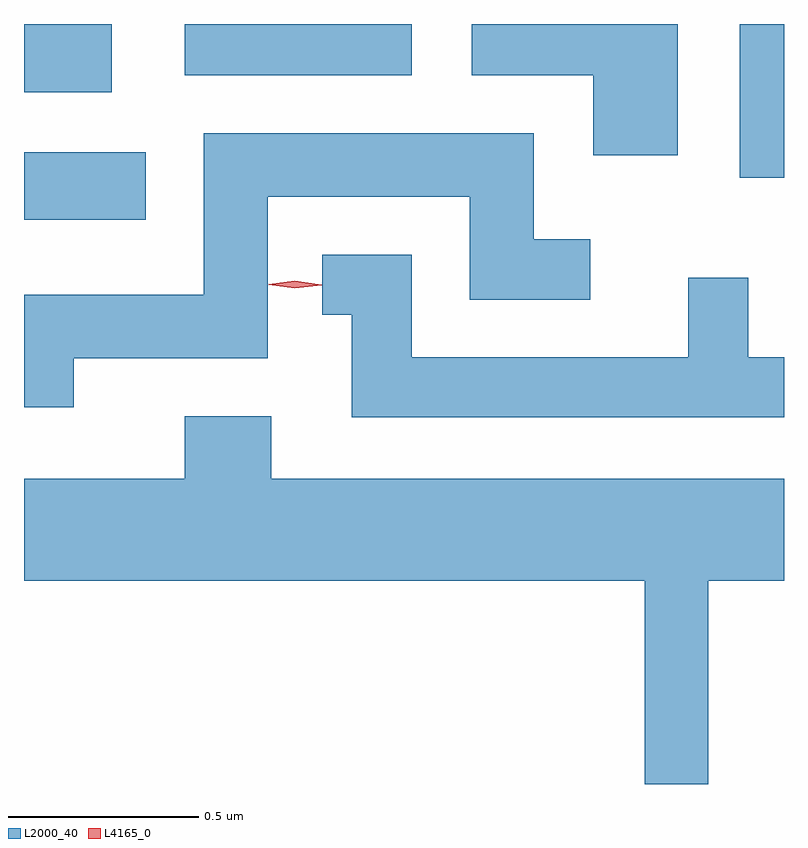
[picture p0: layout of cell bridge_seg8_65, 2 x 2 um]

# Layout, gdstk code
import gdstk
lib = gdstk.Library(unit=1e-6, precision=1e-09)
def R(c, l, rs):  # rectangles x0, y0, x1, y1
    for r in rs: c.add(gdstk.rectangle(r[:2], r[2:], *l))
def P(c, l, *ps):  # polygons
    for p in ps: c.add(gdstk.Polygon(p, *l))
L2000_40 = (2000, 40)
L4165_0 = (4165, 0)

bridge_seg8_65 = lib.new_cell('bridge_seg8_65')
R(bridge_seg8_65, L2000_40, [(1475.418,1910.626,1475.739,1910.804), (1477.301,1910.736,1477.418,1911.141), (1475.418,1910.961,1475.649,1911.141), (1475.841,1911.006,1476.439,1911.141)])
P(bridge_seg8_65, L2000_40, [(1477.139,1911.141),(1476.596,1911.141),(1476.596,1911.006),(1476.916,1911.006),(1476.916,1910.796),(1477.139,1910.796)],
  [(1475.549,1910.261),(1476.059,1910.261),(1476.059,1910.686),(1476.591,1910.686),(1476.591,1910.416),(1476.908,1910.416),(1476.908,1910.574),(1476.759,1910.574),(1476.759,1910.854),(1475.891,1910.854),(1475.891,1910.429),(1475.418,1910.429),(1475.418,1910.133),(1475.549,1910.133)],
  [(1477.418,1910.264),(1477.324,1910.264),(1477.324,1910.473),(1477.166,1910.473),(1477.166,1910.264),(1476.439,1910.264),(1476.439,1910.534),(1476.203,1910.534),(1476.203,1910.376),(1476.281,1910.376),(1476.281,1910.106),(1477.418,1910.106)],
  [(1477.219,1909.676),(1477.418,1909.676),(1477.418,1909.944),(1476.069,1909.944),(1476.069,1910.109),(1475.841,1910.109),(1475.841,1909.944),(1475.418,1909.944),(1475.418,1909.676),(1477.051,1909.676),(1477.051,1909.141),(1477.219,1909.141)])
P(bridge_seg8_65, L4165_0, [(1476.131,1910.445),(1476.062,1910.455),(1476.062,1910.455),(1476.062,1910.456),(1476.131,1910.465),(1476.201,1910.455),(1476.201,1910.455),(1476.201,1910.454)])

lib.write_gds('bridge_seg8_65.gds')
